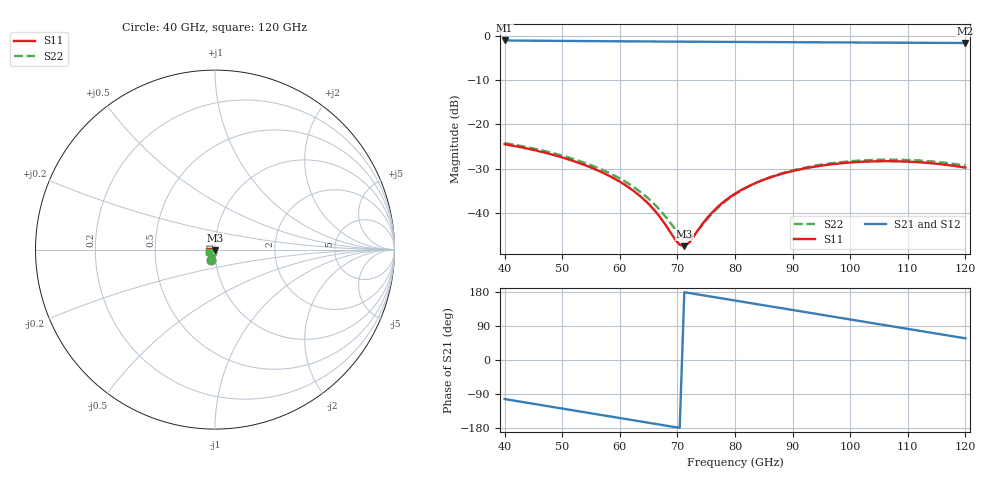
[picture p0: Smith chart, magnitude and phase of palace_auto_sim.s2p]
#  GHZ S DB R 50
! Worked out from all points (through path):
!   101 points, 40 GHz to 120 GHz, reference 50 ohm
!   highest |S21| = -1.07 dB at 40 GHz (marker M1); lowest = -1.6 dB at 120 GHz (marker M2)
!   group delay of S21, straight-line fit = 6.94 ps
!   lowest |S11| = -47.4 dB at 71.2 GHz (marker M3), VSWR 1.01, Z = 49.8 - j0.393 ohm
!   |S11| at or under -10 dB: start of sweep to end of sweep
!   |S22| runs from -45.6 to -24.2 dB; largest |S21 - S12| = 9.9e-14
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40  -24.46 -110.6  -1.07 -103.0  -1.07 -103.0  -24.20 -110.4
46.4  -26.17 -128.9  -1.14 -119.1  -1.14 -119.1  -25.83 -128.5
53.6  -29.00 -148.4  -1.21 -137.1  -1.21 -137.1  -28.51 -147.6
57.6  -31.22 -158.2  -1.24 -147.1  -1.24 -147.1  -30.60 -157.1
61.6  -34.24 -166.2  -1.28 -157.1  -1.28 -157.1  -33.41 -164.7
64.8  -37.66 -169.2  -1.30 -165.1  -1.30 -165.1  -36.51 -167.6
67.2  -41.27 -165.7  -1.32 -171.1  -1.32 -171.1  -39.64 -164.9
69.6  -45.92 -145.1  -1.33 -177.1  -1.33 -177.1  -43.57 -150.0
70.4  -47.12 -130.1  -1.34 -179.1  -1.34 -179.1  -44.77 -139.5
71.2  -47.43 -111.9  -1.34 178.9  -1.34 178.9  -45.55 -125.9
72  -46.69 -95.0  -1.35 176.9  -1.35 176.9  -45.60 -110.8
72.8  -45.32 -82.4  -1.36 174.9  -1.36 174.9  -44.92 -97.1
76  -39.86 -64.8  -1.38 166.9  -1.38 166.9  -40.13 -71.5
77.6  -37.89 -64.1  -1.39 162.9  -1.39 162.9  -38.11 -68.8
80  -35.62 -66.2  -1.40 156.9  -1.40 156.9  -35.74 -69.2
82.4  -33.90 -70.2  -1.42 150.9  -1.42 150.9  -33.94 -72.2
85.6  -32.17 -76.9  -1.44 142.9  -1.44 142.9  -32.12 -78.1
93.6  -29.57 -96.1  -1.49 123.0  -1.49 123.0  -29.37 -96.0
100.8  -28.51 -114.3  -1.53 105.0  -1.53 105.0  -28.22 -113.5
107.2  -28.29 -130.5  -1.57 89.1  -1.57 89.1  -27.94 -129.2
113.6  -28.69 -146.6  -1.61 73.1  -1.61 73.1  -28.28 -144.7
120  -29.74 -162.4  -1.64 57.2  -1.64 57.2  -29.27 -159.9
